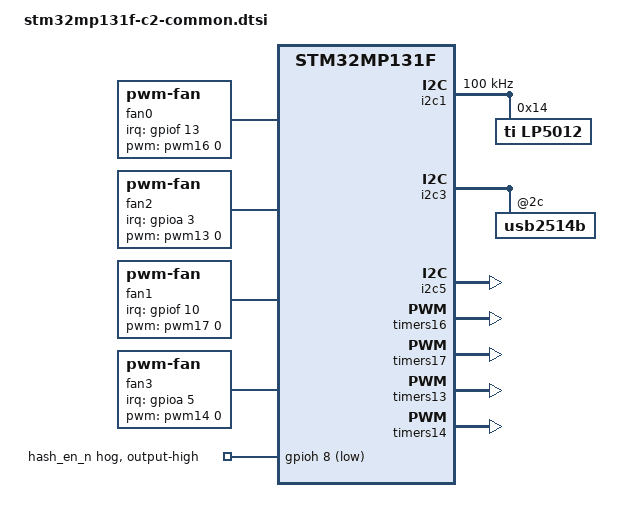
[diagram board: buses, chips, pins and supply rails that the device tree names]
/* SPDX-License-Identifier: (GPL-2.0+ OR BSD-3-Clause) */
/*
* Copyright (C) STMicroelectronics 2024 - All Rights Reserved
* Author: STM32CubeMX code generation for STMicroelectronics.
*/

/dts-v1/;
#include "stm32mp131f-cx.dtsi"
#include "stm32mp131f-c2-pinctrl.dtsi"
#include <dt-bindings/gpio/gpio.h>
#include <dt-bindings/leds/common.h>

/ {
    aliases {
        ethernet0 = &eth1;
        serial0 = &uart4;
        serial1 = &usart1;
        serial2 = &uart8;
        serial3 = &usart2;
        i2c1 = &i2c1;
        i2c3 = &i2c3;
        i2c5 = &i2c5;
    };

    /* Fan control nodes */
    fan0: pwm-fan0 {
        compatible = "pwm-fan";
        /* TIM16: Ch1, 25kHz, Inverted polarity */
        pwms = <&pwm16 0 40000 1>;
        interrupts-extended = <&gpiof 13 IRQ_TYPE_EDGE_FALLING>;
        interrupt-names = "fan0-tach";
    };

    fan2: pwm-fan1 {
        compatible = "pwm-fan";
        /* TIM13: Ch1, 25kHz, Inverted polarity */
        pwms = <&pwm13 0 40000 1>;
        interrupts-extended = <&gpioa 3 IRQ_TYPE_EDGE_FALLING>;
        interrupt-names = "fan1-tach";
    };

    fan1: pwm-fan2 {
        compatible = "pwm-fan";
        /* TIM17: Ch1, 25kHz, Inverted polarity */
        pwms = <&pwm17 0 40000 1>;
        interrupts-extended = <&gpiof 10 IRQ_TYPE_EDGE_FALLING>;
        interrupt-names = "fan2-tach";
    };

    fan3: pwm-fan3 {
        compatible = "pwm-fan";
        /* TIM14: Ch1, 25kHz, Inverted polarity */
        pwms = <&pwm14 0 40000 1>;
        interrupts-extended = <&gpioa 5 IRQ_TYPE_EDGE_FALLING>;
        interrupt-names = "fan3-tach";
    };
};

/* PSU_EN_N/HASH_EN_N - hashrail enable */
&gpioh {
    hog_h8: gpio-hog-h8 {
        gpio-hog;
        gpios = <8 GPIO_ACTIVE_LOW>;
        output-high;
        line-name = "hash_en_n";
    };
};

/* LED driver I2C */
&i2c1 {
    status = "okay";
    pinctrl-names = "default", "sleep";
    pinctrl-0 = <&i2c1_pins_mx>;
    pinctrl-1 = <&i2c1_sleep_pins_mx>;
    clock-frequency = <100000>;

    lp5012@14 {
        compatible = "ti,lp5012";
        reg = <0x14>;
        #address-cells = <1>;
        #size-cells = <0>;

        multi-led@0 {
            #address-cells = <1>;
            #size-cells = <0>;
            reg = <0>;
            color = <8>; // LED_COLOR_ID_MULTI
            function = LED_FUNCTION_ACTIVITY;
            label = "led_hb";

            led@0 {
                reg = <0>;
                color = <LED_COLOR_ID_RED>;
            };

            led@1 {
                reg = <1>;
                color = <LED_COLOR_ID_BLUE>;
            };

            led@2 {
                reg = <2>;
                color = <LED_COLOR_ID_GREEN>;
            };
        };

        multi-led@1 {
            #address-cells = <1>;
            #size-cells = <0>;
            reg = <1>;
            color = <8>; // LED_COLOR_ID_MULTI
            function = LED_FUNCTION_ACTIVITY;
            label = "led_fan";

            led@0 {
                reg = <0>;
                color = <LED_COLOR_ID_RED>;
            };

            led@1 {
                reg = <1>;
                color = <LED_COLOR_ID_BLUE>;
            };

            led@2 {
                reg = <2>;
                color = <LED_COLOR_ID_GREEN>;
            };
        };

        multi-led@2 {
            #address-cells = <1>;
            #size-cells = <0>;
            reg = <2>;
            color = <8>; // LED_COLOR_ID_MULTI
            function = LED_FUNCTION_ACTIVITY;
            label = "led_cb";

            led@0 {
                reg = <0>;
                color = <LED_COLOR_ID_RED>;
            };

            led@1 {
                reg = <1>;
                color = <LED_COLOR_ID_BLUE>;
            };

            led@2 {
                reg = <2>;
                color = <LED_COLOR_ID_GREEN>;
            };
        };

        multi-led@3 {
            #address-cells = <1>;
            #size-cells = <0>;
            reg = <3>;
            color = <8>; // LED_COLOR_ID_MULTI
            function = LED_FUNCTION_ACTIVITY;
            label = "led_psu";

            led@0 {
                reg = <0>;
                color = <LED_COLOR_ID_RED>;
            };

            led@1 {
                reg = <1>;
                color = <LED_COLOR_ID_BLUE>;
            };

            led@2 {
                reg = <2>;
                color = <LED_COLOR_ID_GREEN>;
            };
        };
    };
};

/* USB 4-Port Hub I2C - Override product name and serial only */
&i2c3 {
    usb2514b@2c {
        product = "C2";
        serial = "1234567890A";
    };
};

/* PSU on I2C5 */
&i2c5 {
    status = "okay";
    pinctrl-names = "default", "sleep";
    pinctrl-0 = <&i2c5_pins_mx>;
    pinctrl-1 = <&i2c5_sleep_pins_mx>;
};

/* PWM timer configurations for fans */

/* FAN1 PWM */
&timers16 {
    status = "okay";

    pwm16: pwm {
        status = "okay";
        pinctrl-names = "default", "sleep";
        pinctrl-0 = <&tim16_pwm_pins_mx>;
        pinctrl-1 = <&tim16_pwm_sleep_pins_mx>;
    };
};

/* FAN2 PWM */
&timers17 {
    status = "okay";

    pwm17: pwm {
        status = "okay";
        pinctrl-names = "default", "sleep";
        pinctrl-0 = <&tim17_pwm_pins_mx>;
        pinctrl-1 = <&tim17_pwm_sleep_pins_mx>;
    };
};

/* FAN3 PWM */
&timers13 {
    status = "okay";

    pwm13: pwm {
        status = "okay";
        pinctrl-names = "default", "sleep";
        pinctrl-0 = <&tim13_pwm_pins_mx>;
        pinctrl-1 = <&tim13_pwm_sleep_pins_mx>;
    };
};

/* FAN4 PWM */
&timers14 {
    status = "okay";

    pwm14: pwm {
        status = "okay";
        pinctrl-names = "default", "sleep";
        pinctrl-0 = <&tim14_pwm_pins_mx>;
        pinctrl-1 = <&tim14_pwm_sleep_pins_mx>;
    };
};
